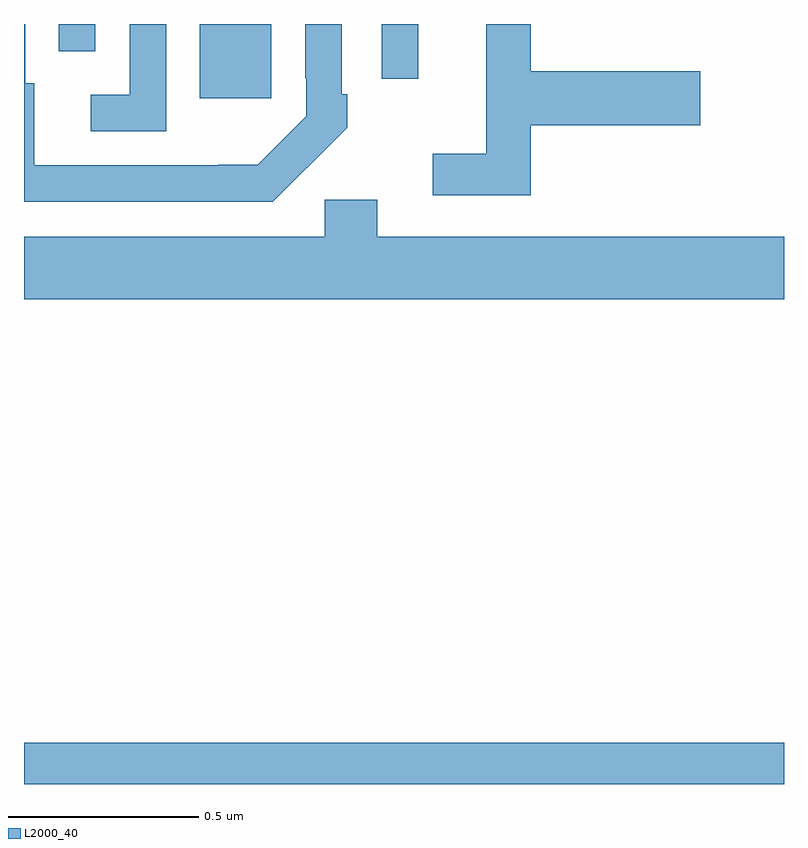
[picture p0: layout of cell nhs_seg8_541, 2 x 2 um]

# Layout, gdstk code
import gdstk
lib = gdstk.Library(unit=1e-6, precision=1e-09)
def R(c, l, rs):  # rectangles x0, y0, x1, y1
    for r in rs: c.add(gdstk.rectangle(r[:2], r[2:], *l))
def P(c, l, *ps):  # polygons
    for p in ps: c.add(gdstk.Polygon(p, *l))
L2000_40 = (2000, 40)

nhs_seg8_541 = lib.new_cell('nhs_seg8_541')
R(nhs_seg8_541, L2000_40, [(118,1105.9,120,1106.008), (118.463,1107.705,118.651,1107.9), (118.941,1107.756,119.037,1107.9), (118.092,1107.828,118.188,1107.9)])
P(nhs_seg8_541, L2000_40, [(119.333,1107.634),(119.779,1107.634),(119.779,1107.776),(119.333,1107.776),(119.333,1107.9),(119.216,1107.9),(119.216,1107.559),(119.076,1107.559),(119.076,1107.45),(119.333,1107.45)],
  [(118.374,1107.9),(118.278,1107.9),(118.278,1107.714),(118.176,1107.714),(118.176,1107.618),(118.374,1107.618)],
  [(118.745,1107.523),(118.746,1107.522),(118.851,1107.627),(118.851,1107.715),(118.836,1107.715),(118.836,1107.9),(118.74,1107.9),(118.74,1107.757),(118.743,1107.757),(118.743,1107.657),(118.615,1107.529),(118.511,1107.529),(118.511,1107.528),(118.027,1107.528),(118.027,1107.744),(118.003,1107.744),(118.003,1107.9),(118,1107.9),(118,1107.432),(118.654,1107.432)],
  [(120,1107.34),(118.93,1107.34),(118.93,1107.438),(118.791,1107.438),(118.791,1107.34),(118,1107.34),(118,1107.176),(120,1107.176)])

lib.write_gds('nhs_seg8_541.gds')
